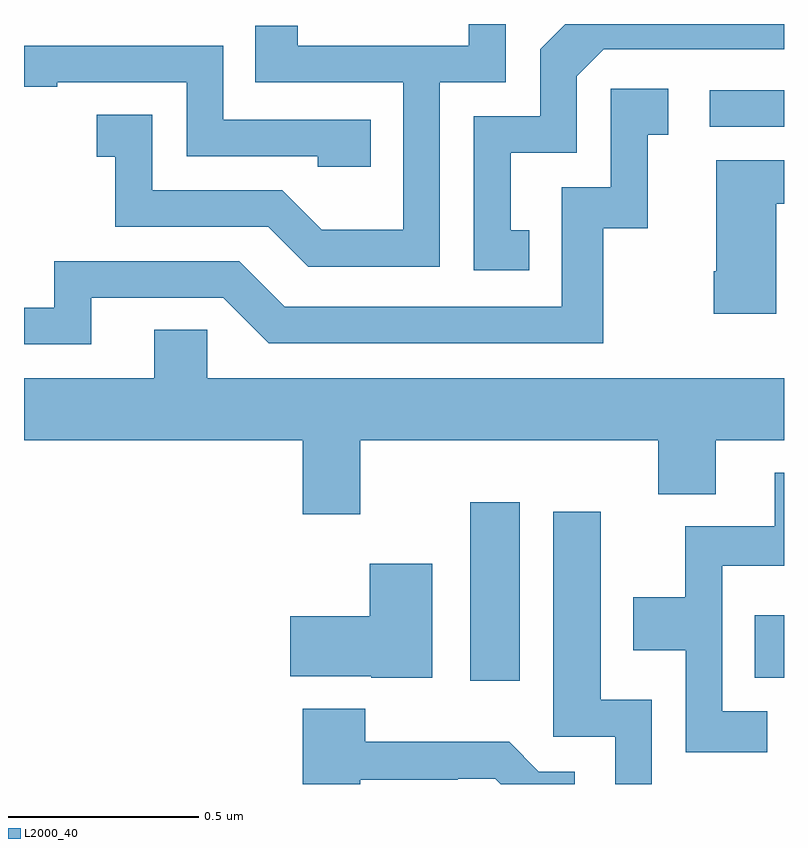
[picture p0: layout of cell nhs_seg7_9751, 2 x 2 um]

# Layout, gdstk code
import gdstk
lib = gdstk.Library(unit=1e-6, precision=1e-09)
def R(c, l, rs):  # rectangles x0, y0, x1, y1
    for r in rs: c.add(gdstk.rectangle(r[:2], r[2:], *l))
def P(c, l, *ps):  # polygons
    for p in ps: c.add(gdstk.Polygon(p, *l))
L2000_40 = (2000, 40)

nhs_seg7_9751 = lib.new_cell('nhs_seg7_9751')
R(nhs_seg7_9751, L2000_40, [(242.174,1045.272,242.305,1045.741), (242.923,1045.28,243,1045.444), (242.805,1046.73,243,1046.826)])
P(nhs_seg7_9751, L2000_40, [(242.094,1046.847),(242.268,1046.847),(242.268,1047),(242.171,1047),(242.171,1046.943),(241.72,1046.943),(241.72,1046.995),(241.609,1046.995),(241.609,1046.847),(241.998,1046.847),(241.998,1046.458),(241.784,1046.458),(241.68,1046.562),(241.338,1046.562),(241.338,1046.761),(241.191,1046.761),(241.191,1046.651),(241.24,1046.651),(241.24,1046.466),(241.643,1046.466),(241.748,1046.361),(242.094,1046.361)],
  [(242.33,1046.457),(242.281,1046.457),(242.281,1046.661),(242.454,1046.661),(242.454,1046.862),(242.526,1046.934),(243,1046.934),(243,1047),(242.424,1047),(242.358,1046.934),(242.358,1046.757),(242.184,1046.757),(242.184,1046.352),(242.33,1046.352)],
  [(241.913,1046.748),(241.524,1046.748),(241.524,1046.943),(241,1046.943),(241,1046.835),(241.087,1046.835),(241.087,1046.847),(241.428,1046.847),(241.428,1046.652),(241.773,1046.652),(241.773,1046.625),(241.913,1046.625)],
  [(241.177,1046.28),(241.524,1046.28),(241.644,1046.16),(242.524,1046.16),(242.524,1046.463),(242.642,1046.463),(242.642,1046.709),(242.695,1046.709),(242.695,1046.83),(242.544,1046.83),(242.544,1046.571),(242.415,1046.571),(242.415,1046.256),(241.686,1046.256),(241.566,1046.376),(241.08,1046.376),(241.08,1046.253),(241,1046.253),(241,1046.157),(241.177,1046.157)],
  [(242.98,1046.527),(243,1046.527),(243,1046.641),(242.822,1046.641),(242.822,1046.35),(242.815,1046.35),(242.815,1046.238),(242.98,1046.238)],
  [(241.885,1045.904),(242.669,1045.904),(242.669,1045.763),(242.821,1045.763),(242.821,1045.904),(243,1045.904),(243,1046.068),(241.482,1046.068),(241.482,1046.195),(241.343,1046.195),(241.343,1046.068),(241,1046.068),(241,1045.904),(241.733,1045.904),(241.733,1045.71),(241.885,1045.71)],
  [(242.956,1045.191),(242.838,1045.191),(242.838,1045.574),(243,1045.574),(243,1045.819),(242.975,1045.819),(242.975,1045.678),(242.74,1045.678),(242.74,1045.492),(242.603,1045.492),(242.603,1045.352),(242.742,1045.352),(242.742,1045.083),(242.956,1045.083)],
  [(242.652,1045.222),(242.518,1045.222),(242.518,1045.717),(242.393,1045.717),(242.393,1045.125),(242.556,1045.125),(242.556,1045),(242.652,1045)],
  [(242.074,1045.579),(241.91,1045.579),(241.91,1045.441),(241.701,1045.441),(241.701,1045.283),(241.914,1045.283),(241.914,1045.28),(242.074,1045.28)],
  [(241.885,1045.011),(242.141,1045.011),(242.141,1045.014),(242.24,1045.014),(242.254,1045),(242.449,1045),(242.449,1045.032),(242.355,1045.032),(242.277,1045.111),(241.898,1045.111),(241.898,1045.198),(241.733,1045.198),(241.733,1045),(241.885,1045)])

lib.write_gds('nhs_seg7_9751.gds')
